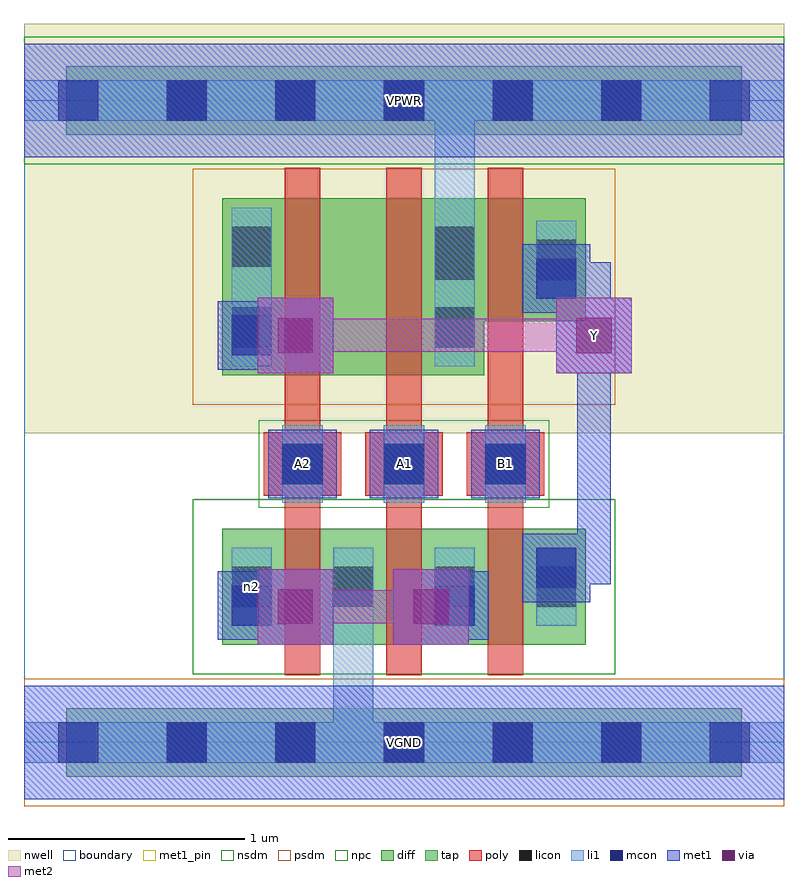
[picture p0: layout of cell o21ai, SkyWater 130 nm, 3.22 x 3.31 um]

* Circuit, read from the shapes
.subckt o21ai A1 A2 B1 VGND VPWR Y n2
XM1 VGND A2 n2 VGND sky130_fd_pr__nfet_01v8 w=0.49 l=0.15
XM2 n2 A1 VGND VGND sky130_fd_pr__nfet_01v8 w=0.49 l=0.15
XM3 Y B1 n2 VGND sky130_fd_pr__nfet_01v8 w=0.49 l=0.15
XM4 n1 A2 Y VPWR sky130_fd_pr__pfet_01v8 w=0.75 l=0.15
XM5 VPWR A1 n1 VPWR sky130_fd_pr__pfet_01v8 w=0.75 l=0.15
XM6 Y B1 VPWR VPWR sky130_fd_pr__pfet_01v8 w=0.52 l=0.15
.ends

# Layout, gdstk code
import gdstk
lib = gdstk.Library(unit=1e-6, precision=1e-09)
def R(c, l, rs):  # rectangles x0, y0, x1, y1
    for r in rs: c.add(gdstk.rectangle(r[:2], r[2:], *l))
def A(c, l, x, y, w, h, nx, ny, dx, dy):  # array of equal rectangles
    R(c, l, [(x+i*dx, y+j*dy, x+i*dx+w, y+j*dy+h) for i in range(nx) for j in range(ny)])
nwell = (64, 20)
diff = (65, 20)
tap = (65, 44)
poly = (66, 20)
licon = (66, 44)
li1 = (67, 20)
mcon = (67, 44)
met1_pin = (68, 16)
met1 = (68, 20)
via = (68, 44)
met2 = (69, 20)
nsdm = (93, 44)
psdm = (94, 20)
npc = (95, 20)
boundary = (235, 4)

o21ai = lib.new_cell('o21ai')
R(o21ai, nwell, [(0,1.31,3.22,3.045)])
R(o21ai, diff, [(0.84,0.415,2.38,0.905), (0.84,1.555,1.95,2.305), (1.7,1.785,2.38,2.305)])
R(o21ai, tap, [(0.18,-0.145,3.04,0.145), (0.18,2.575,3.04,2.865)])
A(o21ai, poly, 1.105, 0.285, 0.15, 2.15, 3, 1, 0.43, 0)
A(o21ai, poly, 1.015, 1.045, 0.33, 0.27, 3, 1, 0.43, 0)
A(o21ai, licon, 0.605, -0.085, 0.17, 0.17, 5, 2, 0.46, 2.72)
A(o21ai, licon, 0.88, 0.575, 0.17, 0.17, 4, 1, 0.43, 0)
A(o21ai, licon, 1.095, 1.095, 0.17, 0.17, 3, 1, 0.43, 0)
R(o21ai, licon, [(0.88,1.675,1.05,1.845), (1.74,1.675,1.91,1.845), (1.74,1.96,1.91,2.13), (2.17,1.96,2.34,2.13), (0.88,2.015,1.05,2.185), (1.74,2.015,1.91,2.185)])
A(o21ai, li1, 0.88, 0.495, 0.17, 0.33, 4, 1, 0.43, 0)
A(o21ai, li1, 1.095, 1.015, 0.17, 0.33, 3, 1, 0.43, 0)
R(o21ai, li1, [(0,-0.085,3.22,0.085), (1.31,-0.085,1.48,0.825), (0.88,1.595,1.05,2.265), (1.74,1.595,1.91,2.265), (1.74,1.595,1.91,2.805), (1.74,1.88,1.91,2.21), (1.74,1.88,1.91,2.805), (2.17,1.88,2.34,2.21), (0,2.635,3.22,2.805)])
A(o21ai, mcon, 0.145, -0.085, 0.17, 0.17, 7, 2, 0.46, 2.72)
A(o21ai, mcon, 1.095, 1.095, 0.17, 0.17, 3, 1, 0.43, 0)
R(o21ai, mcon, [(0.88,0.495,1.05,0.665), (1.74,0.495,1.91,0.665), (2.17,0.655,2.34,0.825), (0.88,1.64,1.05,1.81), (2.17,1.88,2.34,2.05)])
A(o21ai, met1_pin, 1.035, 1.035, 0.29, 0.29, 3, 1, 0.43, 0)
R(o21ai, met1_pin, [(0,-0.24,3.22,0.24), (2.255,1.565,2.575,1.885), (0,2.48,3.22,2.96)])
A(o21ai, met1, 1.035, 1.035, 0.29, 0.29, 3, 1, 0.43, 0)
R(o21ai, met1, [(0,-0.24,3.22,0.24), (0.99,0.415,1.31,0.735), (1.565,0.415,1.885,0.735), (0.82,0.435,1.11,0.725), (1.68,0.435,1.97,0.725), (1.08,0.505,1.22,0.65), (1.655,0.505,1.795,0.65), (0.895,0.51,1.22,0.65), (1.655,0.51,1.895,0.65), (2.11,0.595,2.4,0.885), (2.185,0.67,2.485,0.81), (2.345,0.67,2.485,0.99), (2.345,0.85,2.485,1.91), (0.99,1.565,1.31,1.885), (2.255,1.565,2.575,1.885), (0.82,1.58,1.11,1.87), (0.895,1.655,1.22,1.795), (2.345,1.77,2.485,2.035), (2.11,1.82,2.4,2.11), (2.255,1.885,2.485,1.895), (2.185,1.895,2.485,2.035), (0,2.48,3.22,2.96)])
R(o21ai, via, [(1.075,0.5,1.225,0.65), (1.65,0.5,1.8,0.65), (1.075,1.65,1.225,1.8), (2.34,1.65,2.49,1.8)])
R(o21ai, met2, [(0.99,0.415,1.31,0.735), (1.565,0.415,1.885,0.735), (1.08,0.505,1.795,0.645), (0.99,1.565,1.31,1.885), (2.255,1.565,2.575,1.885), (1.08,1.655,2.485,1.795)])
R(o21ai, nsdm, [(0.715,0.29,2.505,1.03), (0,2.45,3.22,2.99)])
R(o21ai, psdm, [(0,-0.27,3.22,0.27), (0.715,1.43,2.505,2.43)])
R(o21ai, npc, [(0.995,0.995,2.225,1.365)])
R(o21ai, boundary, [(0,0,3.22,2.72)])
o21ai.add(gdstk.Label('n2', (0.965,0.66), layer=67, texttype=5))
o21ai.add(gdstk.Label('A1', (1.61,1.18), layer=68, texttype=5))
o21ai.add(gdstk.Label('A2', (1.18,1.18), layer=68, texttype=5))
o21ai.add(gdstk.Label('B1', (2.04,1.18), layer=68, texttype=5))
o21ai.add(gdstk.Label('Y', (2.415,1.725), layer=68, texttype=5))
o21ai.add(gdstk.Label('VPWR', (1.61,2.72), layer=68, texttype=5))
o21ai.add(gdstk.Label('VGND', (1.61,0), layer=68, texttype=5))
o21ai.add(gdstk.Label('A1', (1.61,1.18), layer=68, texttype=16))
o21ai.add(gdstk.Label('A2', (1.18,1.18), layer=68, texttype=16))
o21ai.add(gdstk.Label('B1', (2.04,1.18), layer=68, texttype=16))
o21ai.add(gdstk.Label('Y', (2.415,1.725), layer=68, texttype=16))
o21ai.add(gdstk.Label('VPWR', (1.61,2.72), layer=68, texttype=16))
o21ai.add(gdstk.Label('VGND', (1.61,0), layer=68, texttype=16))

lib.write_gds('o21ai.gds')
